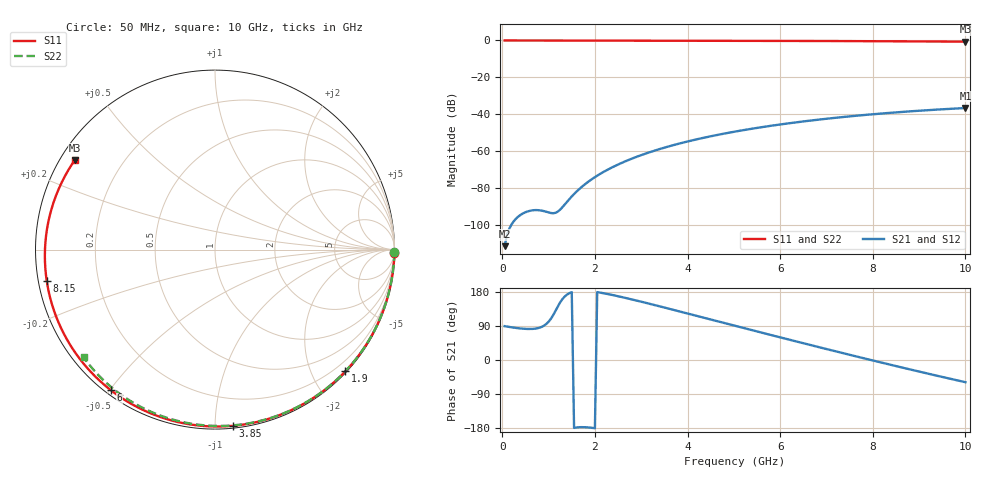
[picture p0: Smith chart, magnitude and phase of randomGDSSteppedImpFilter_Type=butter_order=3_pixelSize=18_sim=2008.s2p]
! freq	dB(S11)	phase(S11)	dB(S12)	phase(S12)
!  dB(S21)	phase(S21)	dB(S22)	phase(S22)
!S-par simulation data
#  GHz  S  DB  R 50
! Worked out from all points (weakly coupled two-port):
!   200 points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, 50 MHz to 10 GHz, reference 50 ohm
!   highest |S21| = -36.64 dB at 10 GHz (marker M1); lowest = -111.6 dB at 50 MHz (marker M2)
!   lowest |S11| = -0.7 dB at 10 GHz (marker M3), VSWR 26.39, Z = 2.06 + j14.5 ohm
!   |S11| at or under -10 dB: nowhere
!   |S22| runs from -0.5 to 0.0 dB; largest |S21 - S12| = 0
!   S11 on the Smith chart (normalised r, x): 50 MHz: 0, -98; 1.9 GHz: 0.02, -2.54; 3.85 GHz: 0.01, -1.11; 6 GHz: 0.02, -0.50; 8.15 GHz: 0.02, -0.09; 10 GHz: 0.04, +0.29
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0.05  -0.00 -1.2  -111.58 89.3  -111.58 89.3  -0.00 -0.8
0.85  -0.02 -19.5  -92.31 87.4  -92.31 87.4  -0.02 -13.8
1.65  -0.05 -37.5  -80.87 -177.5  -80.87 -177.5  -0.03 -26.6
1.7  -0.05 -38.6  -79.75 -177.2  -79.75 -177.2  -0.03 -27.4
1.75  -0.05 -39.7  -78.70 -177.2  -78.70 -177.2  -0.04 -28.2
1.9  -0.05 -43.0  -75.84 -178.4  -75.84 -178.4  -0.04 -30.5
2.2  -0.06 -49.6  -71.12 175.9  -71.12 175.9  -0.05 -35.2
2.55  -0.07 -57.1  -66.73 166.9  -66.73 166.9  -0.05 -40.6
2.95  -0.08 -65.6  -62.65 155.4  -62.65 155.4  -0.06 -46.7
3.4  -0.10 -75.0  -58.89 141.6  -58.89 141.6  -0.07 -53.5
3.85  -0.11 -84.3  -55.74 127.5  -55.74 127.5  -0.08 -60.2
4.45  -0.14 -96.3  -52.24 108.5  -52.24 108.5  -0.10 -68.8
5.05  -0.17 -108.1  -49.32 89.5  -49.32 89.5  -0.12 -77.3
6  -0.22 -126.6  -45.57 59.7  -45.57 59.7  -0.16 -90.2
6.7  -0.27 -140.2  -43.32 38.1  -43.32 38.1  -0.19 -99.4
7.45  -0.34 -155.0  -41.30 15.2  -41.30 15.2  -0.24 -109.0
8.15  -0.41 -169.4  -39.71 -5.7  -39.71 -5.7  -0.29 -117.8
8.35  -0.44 -173.6  -39.30 -11.6  -39.30 -11.6  -0.31 -120.3
8.8  -0.49 176.5  -38.46 -24.8  -38.46 -24.8  -0.35 -125.9
9.2  -0.54 167.3  -37.79 -36.2  -37.79 -36.2  -0.39 -130.8
9.6  -0.60 157.7  -37.19 -47.5  -37.19 -47.5  -0.43 -135.7
10  -0.66 147.5  -36.64 -58.6  -36.64 -58.6  -0.48 -140.6
